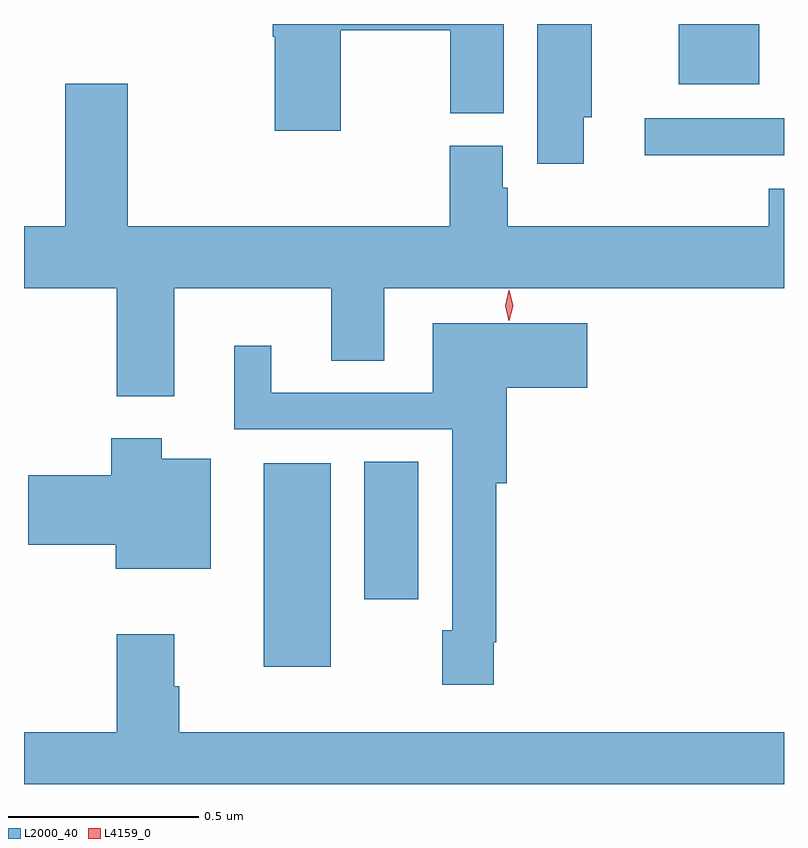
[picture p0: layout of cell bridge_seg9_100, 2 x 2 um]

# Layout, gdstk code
import gdstk
lib = gdstk.Library(unit=1e-6, precision=1e-09)
def R(c, l, rs):  # rectangles x0, y0, x1, y1
    for r in rs: c.add(gdstk.rectangle(r[:2], r[2:], *l))
def P(c, l, *ps):  # polygons
    for p in ps: c.add(gdstk.Polygon(p, *l))
L2000_40 = (2000, 40)
L4159_0 = (4159, 0)

bridge_seg9_100 = lib.new_cell('bridge_seg9_100')
R(bridge_seg9_100, L2000_40, [(645.05,1227.392,645.226,1227.928), (645.314,1227.57,645.457,1227.932), (646.053,1228.739,646.419,1228.836), (646.142,1228.925,646.354,1229.084)])
P(bridge_seg9_100, L2000_40, [(645.892,1228.839),(645.913,1228.839),(645.913,1229.084),(645.77,1229.084),(645.77,1228.716),(645.892,1228.716)],
  [(645.252,1229.068),(645.541,1229.068),(645.541,1228.849),(645.682,1228.849),(645.682,1229.084),(645.074,1229.084),(645.074,1229.051),(645.079,1229.051),(645.079,1228.803),(645.252,1228.803)],
  [(644.815,1228.388),(645.227,1228.388),(645.227,1228.198),(645.367,1228.198),(645.367,1228.388),(646.419,1228.388),(646.419,1228.651),(646.379,1228.651),(646.379,1228.552),(645.692,1228.552),(645.692,1228.653),(645.679,1228.653),(645.679,1228.764),(645.539,1228.764),(645.539,1228.552),(644.692,1228.552),(644.692,1228.927),(644.528,1228.927),(644.528,1228.552),(644.419,1228.552),(644.419,1228.388),(644.663,1228.388),(644.663,1228.104),(644.815,1228.104)],
  [(645.655,1227.457),(645.662,1227.457),(645.662,1227.875),(645.689,1227.875),(645.689,1228.127),(645.901,1228.127),(645.901,1228.297),(645.494,1228.297),(645.494,1228.113),(645.07,1228.113),(645.07,1228.237),(644.972,1228.237),(644.972,1228.017),(645.546,1228.017),(645.546,1227.489),(645.52,1227.489),(645.52,1227.345),(645.655,1227.345)],
  [(644.911,1227.94),(644.782,1227.94),(644.782,1227.994),(644.648,1227.994),(644.648,1227.896),(644.43,1227.896),(644.43,1227.713),(644.66,1227.713),(644.66,1227.65),(644.911,1227.65)],
  [(646.419,1227.22),(644.828,1227.22),(644.828,1227.341),(644.815,1227.341),(644.815,1227.478),(644.663,1227.478),(644.663,1227.22),(644.419,1227.22),(644.419,1227.084),(646.419,1227.084)])
P(bridge_seg9_100, L4159_0, [(645.695,1228.303),(645.686,1228.343),(645.695,1228.383),(645.696,1228.383),(645.696,1228.383),(645.706,1228.343),(645.696,1228.303),(645.696,1228.303)])

lib.write_gds('bridge_seg9_100.gds')
